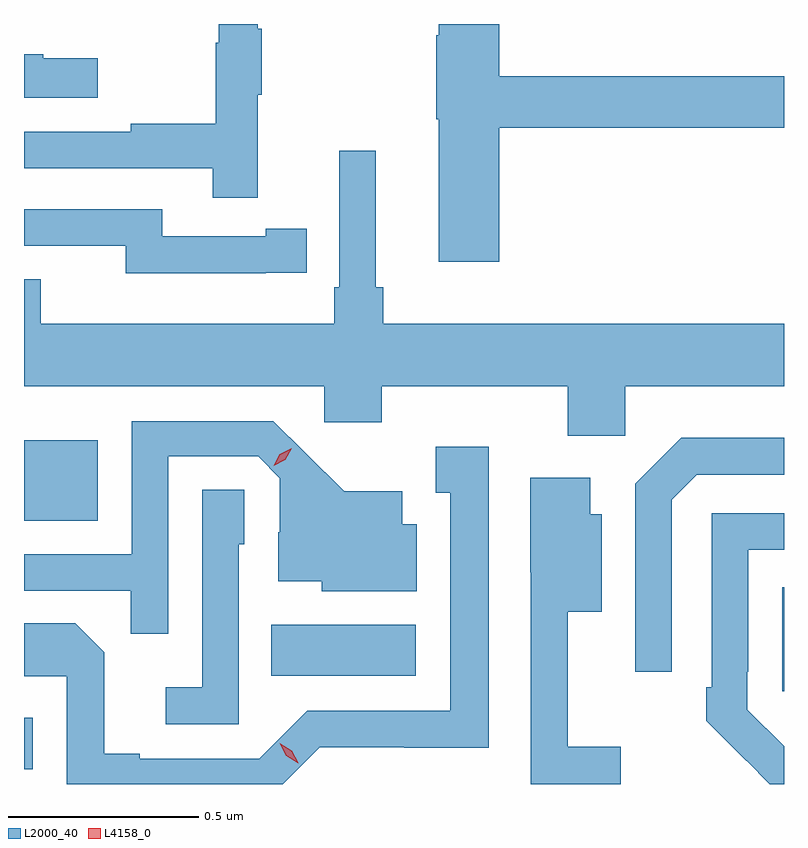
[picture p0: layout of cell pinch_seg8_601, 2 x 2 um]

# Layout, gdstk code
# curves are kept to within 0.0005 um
import gdstk
lib = gdstk.Library(unit=1e-6, precision=1e-09)
def R(c, l, rs):  # rectangles x0, y0, x1, y1
    for r in rs: c.add(gdstk.rectangle(r[:2], r[2:], *l))
def P(c, l, *ps):  # polygons
    for p in ps: c.add(gdstk.Polygon(p, *l))
L2000_40 = (2000, 40)
L4158_0 = (4158, 0)

pinch_seg8_601 = lib.new_cell('pinch_seg8_601')
R(pinch_seg8_601, L2000_40, [(160.916,1091.516,160.939,1091.652), (162.911,1091.721,162.916,1091.995), (161.566,1091.762,161.947,1091.896), (160.916,1092.17,161.11,1092.382)])
P(pinch_seg8_601, L2000_40, [(162.167,1093.204),(162.916,1093.204),(162.916,1093.34),(162.167,1093.34),(162.167,1093.477),(162.008,1093.477),(162.008,1093.448),(162.001,1093.448),(162.001,1093.227),(162.008,1093.227),(162.008,1092.852),(162.167,1092.852)],
  [(161.531,1093.291),(161.542,1093.291),(161.542,1093.465),(161.531,1093.465),(161.531,1093.477),(161.428,1093.477),(161.428,1093.428),(161.421,1093.428),(161.421,1093.214),(161.197,1093.214),(161.197,1093.194),(160.916,1093.194),(160.916,1093.098),(161.413,1093.098),(161.413,1093.02),(161.531,1093.02)],
  [(161.11,1093.387),(160.967,1093.387),(160.967,1093.397),(160.916,1093.397),(160.916,1093.283),(161.11,1093.283)],
  [(162.498,1092.524),(162.916,1092.524),(162.916,1092.688),(161.861,1092.688),(161.861,1092.784),(161.842,1092.784),(161.842,1093.144),(161.745,1093.144),(161.745,1092.784),(161.732,1092.784),(161.732,1092.688),(160.96,1092.688),(160.96,1092.805),(160.916,1092.805),(160.916,1092.524),(161.706,1092.524),(161.706,1092.429),(161.858,1092.429),(161.858,1092.524),(162.347,1092.524),(162.347,1092.393),(162.498,1092.393)],
  [(161.552,1092.822),(161.66,1092.822),(161.66,1092.938),(161.552,1092.938),(161.552,1092.918),(161.28,1092.918),(161.28,1092.99),(160.916,1092.99),(160.916,1092.894),(161.184,1092.894),(161.184,1092.821),(161.552,1092.821)],
  [(161.295,1092.339),(161.532,1092.339),(161.589,1092.282),(161.589,1092.14),(161.585,1092.14),(161.585,1092.011),(161.7,1092.011),(161.7,1091.984),(161.95,1091.984),(161.95,1092.16),(161.911,1092.16),(161.911,1092.247),(161.759,1092.247),(161.572,1092.432),(161.199,1092.432),(161.199,1092.081),(160.916,1092.081),(160.916,1091.985),(161.197,1091.985),(161.197,1091.872),(161.295,1091.872)],
  [(162.621,1092.225),(162.687,1092.291),(162.916,1092.291),(162.916,1092.388),(162.646,1092.388),(162.525,1092.267),(162.525,1091.772),(162.621,1091.772)],
  [(161.694,1091.574),(161.916,1091.574),(161.916,1091.573),(162.139,1091.573),(162.139,1092.364),(161.999,1092.364),(161.999,1092.243),(162.038,1092.243),(162.038,1091.67),(161.661,1091.67),(161.535,1091.544),(161.221,1091.544),(161.221,1091.557),(161.127,1091.557),(161.127,1091.824),(161.051,1091.9),(160.916,1091.9),(160.916,1091.76),(161.028,1091.76),(161.028,1091.477),(161.597,1091.477)],
  [(162.487,1091.575),(162.347,1091.575),(162.347,1091.93),(162.436,1091.93),(162.436,1092.187),(162.406,1092.187),(162.406,1092.283),(162.248,1092.283),(162.248,1092.034),(162.249,1092.034),(162.249,1091.477),(162.487,1091.477)],
  [(161.481,1092.108),(161.496,1092.108),(161.496,1092.251),(161.385,1092.251),(161.385,1091.731),(161.289,1091.731),(161.289,1091.634),(161.481,1091.634)],
  [(162.916,1091.577),(162.819,1091.673),(162.819,1091.773),(162.822,1091.773),(162.822,1092.093),(162.916,1092.093),(162.916,1092.189),(162.726,1092.189),(162.726,1091.731),(162.711,1091.731),(162.711,1091.643),(162.816,1091.538),(162.817,1091.539),(162.879,1091.477),(162.916,1091.477)])
P(pinch_seg8_601, L4158_0, [(161.638,1091.532),(161.606,1091.552),(161.589,1091.584),(161.589,1091.584),(161.589,1091.584),(161.621,1091.565),(161.638,1091.533),(161.638,1091.532)],
  [(161.573,1092.314),(161.573,1092.314),(161.589,1092.345),(161.62,1092.361),(161.62,1092.361),(161.62,1092.36),(161.603,1092.33),(161.573,1092.314)])

lib.write_gds('pinch_seg8_601.gds')
